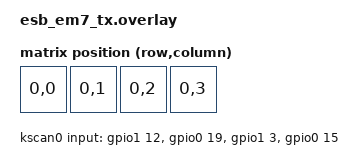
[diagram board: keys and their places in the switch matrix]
/*
 * EM7 XIAO PCB: Kensington Expert Mouse replacement board with a
 * XIAO nRF52840 Plus, PMW3610 trackball, 4 buttons, a
 * photointerrupter scroll ring and a MOSFET-gated LED.
 *
 * Pin assignment (provided by the board's collaborator 2026-11-18
 * and verified against the EM7_XIAO_PCB schematic and PCB nets
 * later the same day, with the board author's permission):
 *   PMW3610:  SCK=D18 (P1.05), SDIO=D8 (P1.13), CS=D9 (P1.14),
 *             MOTION=D10 (P1.15), NRESET=D19 (P1.07)
 *   Buttons:  SW1=D7 (P1.12), SW2=D12 (P0.19), SW3=D17 (P1.03),
 *             SW4=D11 (P0.15)
 *   Ring:     PT5529B photointerrupter, A=D0 (P0.02), B=D1 (P0.03)
 *   LED:      D13 (P1.01) drives the gate (pin 1) of a DMG2302U
 *             N-channel MOSFET, active high. The MOSFET switches
 *             the scroll ring's IR LED (BIR-NM13C1), so this output
 *             must be on for the ring to work at all. The gate has
 *             a 10k pull-down (off by default).
 *   No battery: USB powered.
 *
 * The Plus-only pins (D11/D12/D13/D17/D18/D19) have no xiao_d
 * nexus entries, so they are referenced as raw &gpio0/&gpio1 pins.
 * None of them collide with the board's QSPI flash pins
 * (P0.20..P0.25).
 *
 * Schematic-verified circuit facts:
 * - Buttons switch to GND with no external pull resistors, so the
 *   internal pull-up + active-low setup below is required.
 * - MOTION has no external pull-up either; internal pull-up used.
 * - NRESET is wired to D19 with no pull-up: it must be driven by
 *   the driver (reset-gpios below), never left floating.
 * - Ring PD_A/PD_B have external 10k pull-downs; the
 *   phototransistor emitters rise with light (active high).
 *
 * Still unverified (check on hardware):
 * - SW1..SW4 order vs. the physical button positions on the EM7
 *   shell; keymap defaults are SW1=LCLK, SW2=RCLK, SW3=MCLK,
 *   SW4=MB4.
 * - Scroll direction (may need A/B swapped) and PMW3610
 *   orientation/rotation; the listener in the keymap applies no
 *   transform yet.
 *
 * SPDX-License-Identifier: MIT
 */

#include <dt-bindings/zmk/matrix_transform.h>
#include <dt-bindings/input/input-event-codes.h>
#include <physical_layouts.dtsi>

/ {
    chosen {
        zmk,kscan = <&kscan0>;
        zmk,physical-layout = <&em7_layout>;
        zmk,ext-power = <&ext_power_led>;
    };

    kscan0: kscan {
        compatible = "zmk,kscan-gpio-direct";
        wakeup-source;

        input-gpios
            = <&gpio1 12 (GPIO_PULL_UP | GPIO_ACTIVE_LOW)>  /* SW1 = D7  */
            , <&gpio0 19 (GPIO_PULL_UP | GPIO_ACTIVE_LOW)>  /* SW2 = D12 */
            , <&gpio1  3 (GPIO_PULL_UP | GPIO_ACTIVE_LOW)>  /* SW3 = D17 */
            , <&gpio0 15 (GPIO_PULL_UP | GPIO_ACTIVE_LOW)>  /* SW4 = D11 */
            ;
    };

    default_transform: matrix_transform {
        compatible = "zmk,matrix-transform";
        rows = <1>;
        columns = <4>;
        map = <
            RC(0,0) RC(0,1) RC(0,2) RC(0,3)
        >;
    };

    em7_layout: em7_layout {
        compatible = "zmk,physical-layout";
        display-name = "EM7";
        transform = <&default_transform>;
        kscan = <&kscan0>;

        keys  //                     w   h    x    y   rot  rx  ry
            = <&key_physical_attrs 100 100    0    0     0   0   0>
            , <&key_physical_attrs 100 100  100    0     0   0   0>
            , <&key_physical_attrs 100 100  200    0     0   0   0>
            , <&key_physical_attrs 100 100  300    0     0   0   0>
            ;
    };

    /* D13 -> DMG2302U gate: on while the device is awake, so the
     * LED behind the MOSFET is powered. Toggle with &ext_power. */
    ext_power_led: ext_power {
        compatible = "zmk,ext-power-generic";
        control-gpios = <&gpio1 1 GPIO_ACTIVE_HIGH>;
    };

    /* Scroll ring: PT5529B photointerrupter quadrature -> wheel.
     * One full A/B cycle (4 transitions) per slot = 1 wheel step.
     * The board fits 10k pull-downs on PD_A/PD_B and the
     * phototransistor emitters go high with light, so no internal
     * pull is wanted here (a pull-up would fight the pull-downs). */
    ring_qdec: ring_qdec {
        compatible = "gpio-qdec";
        gpios = <&gpio0 2 GPIO_ACTIVE_HIGH>,
                <&gpio0 3 GPIO_ACTIVE_HIGH>;
        steps-per-period = <4>;
        zephyr,axis = <INPUT_REL_WHEEL>;
        sample-time-us = <2000>;
        idle-timeout-ms = <200>;
    };
};

&xiao_serial { status = "disabled"; };

/* The board dtsi leaves &spi2 (xiao_spi) enabled with pinctrl
 * claiming P1.13/P1.14/P1.15, the same pins spi0 uses for the
 * sensor below. Nothing in this build talks to spi2, so disable
 * it instead of relying on init order to sort out the pin mux. */
&spi2 { status = "disabled"; };

&pinctrl {
    spi0_default: spi0_default {
        group1 {
            psels = <NRF_PSEL(SPIM_SCK, 1, 5)>,
                    <NRF_PSEL(SPIM_MOSI, 1, 13)>,
                    <NRF_PSEL(SPIM_MISO, 1, 13)>;
        };
    };

    spi0_sleep: spi0_sleep {
        group1 {
            psels = <NRF_PSEL(SPIM_SCK, 1, 5)>,
                    <NRF_PSEL(SPIM_MOSI, 1, 13)>,
                    <NRF_PSEL(SPIM_MISO, 1, 13)>;
            low-power-enable;
        };
    };
};

&spi0 {
    status = "okay";
    compatible = "nordic,nrf-spim";
    pinctrl-0 = <&spi0_default>;
    pinctrl-1 = <&spi0_sleep>;
    pinctrl-names = "default", "sleep";
    cs-gpios = <&gpio1 14 GPIO_ACTIVE_LOW>;

    trackball: trackball@0 {
        status = "okay";
        compatible = "pixart,pmw3610";
        reg = <0>;
        /* Datasheet max is 2 MHz, but SCK sits on P1.05, a
         * low-frequency-only pin: run 1 MHz for edge margin.
         * The sensor accumulates deltas internally, so the
         * slower clock costs no tracking performance. */
        spi-max-frequency = <1000000>;
        motion-gpios = <&gpio1 15 (GPIO_ACTIVE_LOW | GPIO_PULL_UP)>;
        reset-gpios = <&gpio1 7 GPIO_ACTIVE_LOW>;
        res-cpi = <800>;
        zephyr,axis-x = <INPUT_REL_X>;
        zephyr,axis-y = <INPUT_REL_Y>;
    };
};
